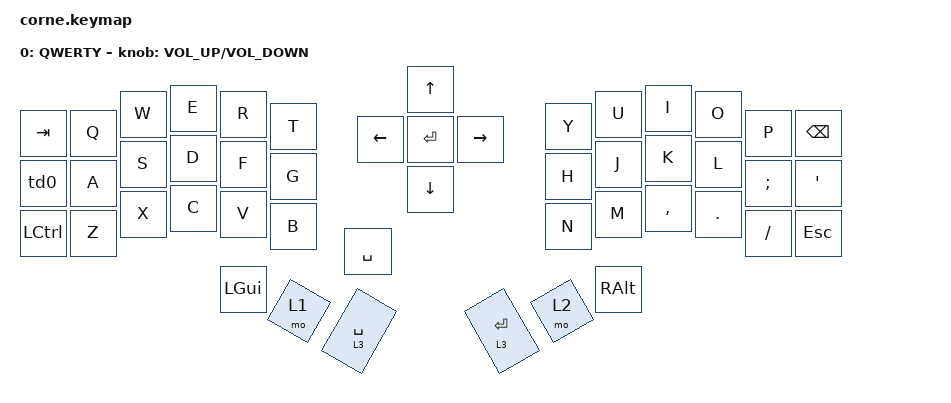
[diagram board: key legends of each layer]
#include <behaviors.dtsi>
#include <dt-bindings/zmk/bt.h>
#include <dt-bindings/zmk/keys.h>
#include <dt-bindings/zmk/mouse.h>
#include <dt-bindings/zmk/outputs.h>
#include <dt-bindings/zmk/rgb.h>

#define ZMK_MOUSE_DEFAULT_MOVE_VAL 1200  // 600
#define ZMK_MOUSE_DEFAULT_SCRL_VAL 20    // 10
#define U_MS_U &mmv MOVE_UP
#define U_MS_D &mmv MOVE_DOWN
#define U_MS_L &mmv MOVE_LEFT
#define U_MS_R &mmv MOVE_RIGHT

/ {
    behaviors {
        td0: td0 {
            compatible = "zmk,behavior-tap-dance";
            label = "TD0";
            #binding-cells = <0>;
            bindings = <&kp LEFT_SHIFT &kp CAPS>;
        };

        mmv {
            acceleration-exponent = <1>;      // 1
            time-to-max-speed-ms = <900>;    // 40
            delay-ms = <0>;                   // 0
        };

        msc {
            acceleration-exponent = <1>;      // 0
            time-to-max-speed-ms = <400>;      // 500
            delay-ms = <0>;                   // 10
        };
    };

    rgb_encoder: rgb_encoder {
        compatible = "zmk,behavior-sensor-rotate";
        label = "RGB_ENCODER";
        #sensor-binding-cells = <0>;
        bindings = <&rgb_ug RGB_BRI &rgb_ug RGB_BRD>;
    };

    scroll_encoder: scroll_encoder {
        compatible = "zmk,behavior-sensor-rotate";
        #sensor-binding-cells = <0>;
        bindings = <&kp DOWN &kp UP>;
        //bindings = <&mkp C_SCROLL_DOWN &mkp C_SCROLL_UP>;
        //just testing
        //bindings = <&msc SCRL_DOWN &msc SCRL_UP>;
        tap-ms = <30>;
    };

    keymap {
        compatible = "zmk,keymap";

        default_layer {
            display-name = "QWERTY";

            // --------------------------------------------------------------------------------
            // |  TAB |  Q  |  W  |  E  |  R  |  T  |                ↑    |  Y  |  U   |  I  |  O  |  P  | BKSP |      &kp UP_ARROW 
            // | SHIFT |  A  |  S  |  D  |  F  |  G  |               ↓    |  H  |  J   |  K  |  L  |  ;  |  '   | 
            // | CTRL |  Z  |  X  |  C  |  V  |  B  |                ←    |  N  |  M   |  ,  |  .  |  /  | ESC  |
            //                    | GUI | LWR | SPC |                →    | ENT | RSE  | ALT |
            //                                                      enter

            bindings = <
&kp TAB    &kp Q  &kp W      &kp E     &kp R  &kp T          &kp UP_ARROW     &kp Y        &kp U  &kp I      &kp O    &kp P     &kp BSPC
&td0       &kp A  &kp S      &kp D     &kp F  &kp G          &kp DOWN_ARROW   &kp H        &kp J  &kp K      &kp L    &kp SEMI  &kp SQT
&kp LCTRL  &kp Z  &kp X      &kp C     &kp V  &kp B          &kp LEFT_ARROW   &kp N        &kp M  &kp COMMA  &kp DOT  &kp FSLH  &kp ESC
                  &kp SPACE  &kp LGUI  &mo 1  &lt 3 SPACE    &kp RIGHT_ARROW  &lt 3 ENTER  &mo 2  &kp RALT
                                                             &kp ENTER
            >;

            label = "QWERTY";
            sensor-bindings = <&inc_dec_kp C_VOLUME_UP C_VOLUME_DOWN>;
        };

        layer_1 {
            status = "reserved";
        };

        layer_2 {
            status = "reserved";
        };

        layer_3 {
            status = "reserved";
        };

        starcraft {
            status = "reserved";
        };

        layer_5 {
            status = "reserved";
        };


    
    };
};
